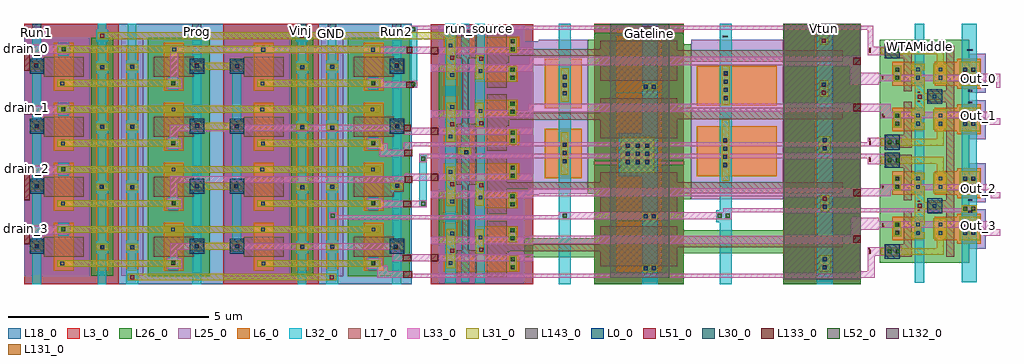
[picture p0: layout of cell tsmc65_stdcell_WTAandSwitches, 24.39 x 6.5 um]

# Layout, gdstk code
from math import pi, radians
import gdstk
lib = gdstk.Library(unit=1e-6, precision=1e-09)
def R(c, l, rs):  # rectangles x0, y0, x1, y1
    for r in rs: c.add(gdstk.rectangle(r[:2], r[2:], *l))
def A(c, l, x, y, w, h, nx, ny, dx, dy):  # array of equal rectangles
    R(c, l, [(x+i*dx, y+j*dy, x+i*dx+w, y+j*dy+h) for i in range(nx) for j in range(ny)])
def P(c, l, *ps):  # polygons
    for p in ps: c.add(gdstk.Polygon(p, *l))
L0_0 = (0, 0)
L3_0 = (3, 0)
L6_0 = (6, 0)
L17_0 = (17, 0)
L18_0 = (18, 0)
L25_0 = (25, 0)
L26_0 = (26, 0)
L30_0 = (30, 0)
L31_0 = (31, 0)
L32_0 = (32, 0)
L33_0 = (33, 0)
L51_0 = (51, 0)
L52_0 = (52, 0)
L131_0 = (131, 0)
L132_0 = (132, 0)
L133_0 = (133, 0)
L143_0 = (143, 0)

m2_m1_cdns_693601845464 = lib.new_cell('M2_M1_CDNS_693601845464')
R(m2_m1_cdns_693601845464, L31_0, [(-0.19,-0.19,0.19,0.19)])
R(m2_m1_cdns_693601845464, L32_0, [(-0.19,-0.19,0.19,0.19)])
R(m2_m1_cdns_693601845464, L51_0, [(-0.15,-0.15,-0.05,-0.05), (0.05,-0.15,0.15,-0.05), (-0.15,0.05,-0.05,0.15), (0.05,0.05,0.15,0.15)])

m1_od_cdns_693601845465 = lib.new_cell('M1_OD_CDNS_693601845465')
R(m1_od_cdns_693601845465, L6_0, [(-0.18,-0.18,0.18,0.18)])
R(m1_od_cdns_693601845465, L30_0, [(-0.15,-0.15,-0.06,-0.06), (0.06,-0.15,0.15,-0.06), (-0.15,0.06,-0.06,0.15), (0.06,0.06,0.15,0.15)])
R(m1_od_cdns_693601845465, L31_0, [(-0.19,-0.19,0.19,0.19)])

m1_od_cdns_693601845466 = lib.new_cell('M1_OD_CDNS_693601845466')
R(m1_od_cdns_693601845466, L6_0, [(-0.075,-0.18,0.075,0.18)])
R(m1_od_cdns_693601845466, L30_0, [(-0.045,-0.15,0.045,-0.06), (-0.045,0.06,0.045,0.15)])
R(m1_od_cdns_693601845466, L31_0, [(-0.085,-0.19,0.085,0.19)])

m3_m2_cdns_693601845461 = lib.new_cell('M3_M2_CDNS_693601845461')
R(m3_m2_cdns_693601845461, L32_0, [(-0.19,-0.09,0.19,0.09)])
R(m3_m2_cdns_693601845461, L33_0, [(-0.19,-0.09,0.19,0.09)])
R(m3_m2_cdns_693601845461, L52_0, [(-0.15,-0.05,-0.05,0.05), (0.05,-0.05,0.15,0.05)])

m1_po_cdns_693601845467 = lib.new_cell('M1_PO_CDNS_693601845467')
R(m1_po_cdns_693601845467, L17_0, [(-0.19,-0.085,0.19,0.085)])
R(m1_po_cdns_693601845467, L30_0, [(-0.15,-0.045,-0.06,0.045), (0.06,-0.045,0.15,0.045)])
R(m1_po_cdns_693601845467, L31_0, [(-0.19,-0.09,0.19,0.09)])

m3_m2_cdns_693601845468 = lib.new_cell('M3_M2_CDNS_693601845468')
R(m3_m2_cdns_693601845468, L32_0, [(-0.09,-0.19,0.09,0.19)])
R(m3_m2_cdns_693601845468, L33_0, [(-0.09,-0.19,0.09,0.19)])
R(m3_m2_cdns_693601845468, L52_0, [(-0.05,-0.15,0.05,-0.05), (-0.05,0.05,0.05,0.15)])

m2_m1_cdns_693601845469 = lib.new_cell('M2_M1_CDNS_693601845469')
R(m2_m1_cdns_693601845469, L31_0, [(-0.09,-0.19,0.09,0.19)])
R(m2_m1_cdns_693601845469, L32_0, [(-0.09,-0.19,0.09,0.19)])
R(m2_m1_cdns_693601845469, L51_0, [(-0.05,-0.15,0.05,-0.05), (-0.05,0.05,0.05,0.15)])

m1_od_cdns_6936018454610 = lib.new_cell('M1_OD_CDNS_6936018454610')
R(m1_od_cdns_6936018454610, L6_0, [(-0.075,-0.18,0.075,0.18)])
R(m1_od_cdns_6936018454610, L30_0, [(-0.045,-0.15,0.045,-0.06), (-0.045,0.06,0.045,0.15)])
R(m1_od_cdns_6936018454610, L31_0, [(-0.09,-0.19,0.09,0.19)])

m2_m1_cdns_693601845462 = lib.new_cell('M2_M1_CDNS_693601845462')
R(m2_m1_cdns_693601845462, L31_0, [(-0.19,-0.09,0.19,0.09)])
R(m2_m1_cdns_693601845462, L32_0, [(-0.19,-0.09,0.19,0.09)])
R(m2_m1_cdns_693601845462, L51_0, [(-0.15,-0.05,-0.05,0.05), (0.05,-0.05,0.15,0.05)])

m1_po_cdns_6936018454611 = lib.new_cell('M1_PO_CDNS_6936018454611')
R(m1_po_cdns_6936018454611, L17_0, [(-0.085,-0.085,0.085,0.085)])
R(m1_po_cdns_6936018454611, L30_0, [(-0.045,-0.045,0.045,0.045)])
R(m1_po_cdns_6936018454611, L31_0, [(-0.085,-0.085,0.085,0.085)])

sky130_hilas_wtasinglest = lib.new_cell('sky130_hilas_WTAsinglestage01')
R(sky130_hilas_wtasinglest, L0_0, [(-0.65,-0.8,-0.28,-0.43), (0.41,0.34,0.78,0.71)])
R(sky130_hilas_wtasinglest, L6_0, [(1.16,-0.42,1.46,-0.34), (1.46,-0.42,1.75,0.33), (-0.47,-0.34,0.32,0.25), (0.59,-0.34,1.46,0.25), (1.16,0.25,1.46,0.33)])
R(sky130_hilas_wtasinglest, L17_0, [(-0.63,-0.75,0.02,-0.43), (0.88,-0.5,1.08,0.38), (-0.18,-0.43,0.02,0.39), (0.43,0.38,1.08,0.66)])
R(sky130_hilas_wtasinglest, L25_0, [(1.46,-0.545,1.875,0.435)])
R(sky130_hilas_wtasinglest, L26_0, [(-0.78,-0.9,1.46,0.81)])
A(sky130_hilas_wtasinglest, L31_0, 0.56, -0.3, 0.34, 0.17, 1, 3, 0, 0.17)
R(sky130_hilas_wtasinglest, L31_0, [(-0.755,-0.7,0.82,-0.53), (0.65,-0.53,0.82,-0.3), (1.22,-0.34,1.73,0.25), (0.01,-0.3,0.34,-0.13), (-0.255,-0.24,-0.24,-0.02), (0.09,-0.13,0.26,0.04), (0.01,0.04,0.34,0.21), (0.09,0.21,0.34,0.44), (0.09,0.44,0.76,0.61)])
R(sky130_hilas_wtasinglest, L32_0, [(1.27,-0.9,1.65,0.81)])
R(sky130_hilas_wtasinglest, L33_0, [(-1.08,-0.72,-0.96,-0.51), (-0.96,-0.72,-0.23,-0.51), (-0.755,-0.02,-0.54,0.14), (-0.54,-0.02,1.75,0.14)])
R(sky130_hilas_wtasinglest, L131_0, [(0.17,0.4,0.215,0.425)])
R(sky130_hilas_wtasinglest, L132_0, [(1.435,0.65,1.535,0.695)])
R(sky130_hilas_wtasinglest, L133_0, [(-1.04,-0.675,-1.005,-0.575), (-0.72,0.035,-0.695,0.09)])
sky130_hilas_wtasinglest.add(gdstk.Reference(m2_m1_cdns_693601845464, (1.46,-0.05)))
sky130_hilas_wtasinglest.add(gdstk.Reference(m1_od_cdns_693601845465, (1.46,-0.05)))
sky130_hilas_wtasinglest.add(gdstk.Reference(m1_od_cdns_693601845466, (0.175,-0.05)))
sky130_hilas_wtasinglest.add(gdstk.Reference(m1_od_cdns_693601845466, (0.735,-0.05)))
sky130_hilas_wtasinglest.add(gdstk.Reference(m3_m2_cdns_693601845461, (-0.425,-0.615)))
sky130_hilas_wtasinglest.add(gdstk.Reference(m1_po_cdns_693601845467, (-0.425,-0.615)))
sky130_hilas_wtasinglest.add(gdstk.Reference(m3_m2_cdns_693601845468, (-0.345,-0.05)))
sky130_hilas_wtasinglest.add(gdstk.Reference(m2_m1_cdns_693601845469, (-0.345,-0.05)))
sky130_hilas_wtasinglest.add(gdstk.Reference(m1_od_cdns_6936018454610, (-0.345,-0.05)))
sky130_hilas_wtasinglest.add(gdstk.Reference(m2_m1_cdns_693601845462, (-0.425,-0.615)))
sky130_hilas_wtasinglest.add(gdstk.Reference(m1_po_cdns_6936018454611, (0.585,0.525)))
sky130_hilas_wtasinglest.add(gdstk.Label('GND', (1.475,0.67), layer=132, texttype=0))
sky130_hilas_wtasinglest.add(gdstk.Label('Out', (-0.71,0.065), layer=133, texttype=0))
sky130_hilas_wtasinglest.add(gdstk.Label('In', (-1.015,-0.62), layer=133, texttype=0))
sky130_hilas_wtasinglest.add(gdstk.Label('MiddleNode', (0.19,0.415), layer=131, texttype=0))

m2_m1_cdns_693601845463 = lib.new_cell('M2_M1_CDNS_693601845463')
R(m2_m1_cdns_693601845463, L31_0, [(-0.09,-0.09,0.09,0.09)])
R(m2_m1_cdns_693601845463, L32_0, [(-0.09,-0.09,0.09,0.09)])
R(m2_m1_cdns_693601845463, L51_0, [(-0.05,-0.05,0.05,0.05)])

sky130_hilas_wta4stage01 = lib.new_cell('sky130_hilas_WTA4stage01')
R(sky130_hilas_wta4stage01, L17_0, [(1.96,0.15,2.16,0.4), (1.96,2.45,2.16,2.7), (1.96,2.505,2.16,2.755), (1.96,2.54,2.16,3.13), (1.96,5.18,2.16,5.43)])
R(sky130_hilas_wta4stage01, L32_0, [(1.18,0.14,1.41,5.44), (1.18,2.71,1.41,2.87), (2.395,2.71,2.695,2.87), (1.18,5.235,1.41,5.44)])
R(sky130_hilas_wta4stage01, L33_0, [(0,0.18,0.1,0.39), (2.7,0.88,2.83,1.04), (2.72,1.81,2.83,1.97), (0,2.46,0.105,2.67), (0,2.91,0.095,3.115), (2.705,3.61,2.83,3.77), (2.735,4.54,2.83,4.7), (0,5.19,0.11,5.4)])
R(sky130_hilas_wta4stage01, L132_0, [(2.49,5.305,2.62,5.34), (1.26,5.395,1.325,5.415)])
R(sky130_hilas_wta4stage01, L133_0, [(0.02,0.345,0.045,0.365), (0.365,0.905,0.415,0.925), (0.365,1.905,0.395,1.925), (0.02,2.63,0.045,2.64), (0.035,3.08,0.06,3.095), (0.37,3.635,0.42,3.67), (0.355,4.645,0.385,4.665), (0.04,5.355,0.07,5.37)])
sky130_hilas_wta4stage01.add(gdstk.Reference(sky130_hilas_wtasinglest, (1.08,1.95), x_reflection=True))
sky130_hilas_wta4stage01.add(gdstk.Reference(sky130_hilas_wtasinglest, (1.08,0.9)))
sky130_hilas_wta4stage01.add(gdstk.Reference(sky130_hilas_wtasinglest, (1.08,3.63)))
sky130_hilas_wta4stage01.add(gdstk.Reference(sky130_hilas_wtasinglest, (1.08,4.68), x_reflection=True))
sky130_hilas_wta4stage01.add(gdstk.Reference(m2_m1_cdns_693601845463, (1.295,1.425)))
sky130_hilas_wta4stage01.add(gdstk.Reference(m2_m1_cdns_693601845463, (1.295,4.155)))
sky130_hilas_wta4stage01.add(gdstk.Label('OUTPUT1', (0.51,4.655), layer=133, texttype=0))
sky130_hilas_wta4stage01.add(gdstk.Label('OUTPUT2', (0.39,3.655), layer=133, texttype=0))
sky130_hilas_wta4stage01.add(gdstk.Label('OUTPUT3', (0.38,1.91), layer=133, texttype=0))
sky130_hilas_wta4stage01.add(gdstk.Label('OUTPUT4', (0.385,0.915), layer=133, texttype=0))
sky130_hilas_wta4stage01.add(gdstk.Label('INPUT4', (0.045,0.35), layer=133, texttype=0))
sky130_hilas_wta4stage01.add(gdstk.Label('INPUT3', (0.04,2.63), layer=133, texttype=0))
sky130_hilas_wta4stage01.add(gdstk.Label('INPUT2', (0.045,3.085), layer=133, texttype=0))
sky130_hilas_wta4stage01.add(gdstk.Label('INPUT1', (0.055,5.365), layer=133, texttype=0))
sky130_hilas_wta4stage01.add(gdstk.Label('GND', (2.56,5.32), layer=132, texttype=0))
sky130_hilas_wta4stage01.add(gdstk.Label('WTAMIDDLENODE', (1.28,5.405), layer=132, texttype=0))

sky130_hilas_tuncap01_v2 = lib.new_cell('sky130_hilas_TunCap01_v2')
R(sky130_hilas_tuncap01_v2, L3_0, [(-14.63,-3.945,-13.09,-2.14)])
R(sky130_hilas_tuncap01_v2, L6_0, [(-14.06,-3.67,-13.66,-2.47)])
R(sky130_hilas_tuncap01_v2, L18_0, [(-14.63,-3.945,-13.09,-2.14)])
R(sky130_hilas_tuncap01_v2, L26_0, [(-14.52,-3.8,-13.2,-2.34)])

sky130_hilas_fgvaractorc = lib.new_cell('sky130_hilas_FGVaractorCapacitor')
R(sky130_hilas_fgvaractorc, L3_0, [(0,0,2.23,1.86)])
R(sky130_hilas_fgvaractorc, L6_0, [(0.56,0.325,1.67,1.555)])
R(sky130_hilas_fgvaractorc, L17_0, [(0.16,0.44,2.08,1.44)])
R(sky130_hilas_fgvaractorc, L18_0, [(0,0,2.23,1.86)])
R(sky130_hilas_fgvaractorc, L26_0, [(0,0.215,2.23,1.635)])
R(sky130_hilas_fgvaractorc, L32_0, [(0.65,0,1.03,1.86)])

sky130_hilas_horizpcell0 = lib.new_cell('sky130_hilas_horizPcell01')
R(sky130_hilas_horizpcell0, L3_0, [(-2.89,0.4,-0.33,2.32)])
R(sky130_hilas_horizpcell0, L6_0, [(-2.54,0.71,-0.66,1.11), (-2.51,1.44,-1.43,1.84), (-1,1.495,-0.66,1.935)])
R(sky130_hilas_horizpcell0, L17_0, [(-2.235,0.57,-1.735,1.19), (-1.485,0.57,-0.985,1.25), (-2.295,1.19,-1.735,1.36), (-2.235,1.36,-1.735,1.98)])
R(sky130_hilas_horizpcell0, L18_0, [(-2.89,0.4,-0.33,2.32)])
P(sky130_hilas_horizpcell0, L25_0, [(-2.67,0.42),(-2.67,2.13),(-1.3,2.13),(-1.3,1.4),(-0.53,1.4),(-0.53,0.42)])
R(sky130_hilas_horizpcell0, L26_0, [(-1.125,1.4,-0.535,2.06)])
R(sky130_hilas_horizpcell0, L30_0, [(-0.875,0.88,-0.785,0.97), (-1.62,1.52,-1.53,1.61), (-0.915,1.62,-0.825,1.71)])
R(sky130_hilas_horizpcell0, L31_0, [(-0.94,0.8,-0.72,1.18), (-0.93,0.8,-0.73,1.15), (-0.93,1.15,-0.72,1.18), (-1.66,1.17,-1.46,1.77), (-0.94,1.18,-0.72,1.77)])
R(sky130_hilas_horizpcell0, L32_0, [(-1.68,0.42,-1.45,1.15), (-0.96,0.42,-0.69,1.12), (-1.29,0.47,-1.1,1.46), (-0.96,1.12,-0.69,1.67), (-1.68,1.15,-1.45,1.17), (-1.68,1.17,-1.45,1.41), (-1.68,1.41,-1.45,1.46), (-1.68,1.46,-1.45,2.32), (-1.29,1.46,-1.1,1.58), (-1.29,1.58,-1.1,2.32), (-0.96,1.67,-0.69,1.72), (-0.96,1.72,-0.69,1.81), (-0.96,1.81,-0.69,2.32)])
R(sky130_hilas_horizpcell0, L33_0, [(-2.89,0.97,-2.51,1.15), (-2.51,0.97,-0.33,1.15), (-2.89,1.4,-2.5,1.58), (-2.5,1.4,-0.33,1.58)])
R(sky130_hilas_horizpcell0, L51_0, [(-0.92,1.18,-0.82,1.28), (-1.65,1.21,-1.55,1.31)])
sky130_hilas_horizpcell0.add(gdstk.Reference(m3_m2_cdns_693601845468, (-2.385,0.92)))
sky130_hilas_horizpcell0.add(gdstk.Reference(m3_m2_cdns_693601845468, (-2.375,1.64)))
sky130_hilas_horizpcell0.add(gdstk.Reference(m2_m1_cdns_693601845469, (-2.375,1.64)))
sky130_hilas_horizpcell0.add(gdstk.Reference(m2_m1_cdns_693601845469, (-2.385,0.92)))
sky130_hilas_horizpcell0.add(gdstk.Reference(m1_od_cdns_6936018454610, (-2.375,1.64)))
sky130_hilas_horizpcell0.add(gdstk.Reference(m1_od_cdns_6936018454610, (-2.385,0.92)))

m1_od_cdns_6936018454612 = lib.new_cell('M1_OD_CDNS_6936018454612')
R(m1_od_cdns_6936018454612, L6_0, [(-0.075,-0.075,0.075,0.075)])
R(m1_od_cdns_6936018454612, L30_0, [(-0.045,-0.045,0.045,0.045)])
R(m1_od_cdns_6936018454612, L31_0, [(-0.085,-0.085,0.085,0.085)])

m1_od_cdns_6936018454613 = lib.new_cell('M1_OD_CDNS_6936018454613')
R(m1_od_cdns_6936018454613, L6_0, [(-0.075,-0.285,0.075,0.285)])
A(m1_od_cdns_6936018454613, L30_0, -0.045, -0.255, 0.09, 0.09, 1, 3, 0, 0.21)
R(m1_od_cdns_6936018454613, L31_0, [(-0.085,-0.295,0.085,0.295)])

m2_m1_cdns_6936018454614 = lib.new_cell('M2_M1_CDNS_6936018454614')
R(m2_m1_cdns_6936018454614, L31_0, [(-0.09,-0.29,0.09,0.29)])
R(m2_m1_cdns_6936018454614, L32_0, [(-0.09,-0.29,0.09,0.29)])
A(m2_m1_cdns_6936018454614, L51_0, -0.05, -0.25, 0.1, 0.1, 1, 3, 0, 0.2)

m1_od_cdns_6936018454615 = lib.new_cell('M1_OD_CDNS_6936018454615')
R(m1_od_cdns_6936018454615, L6_0, [(-0.075,-0.39,0.075,0.39)])
A(m1_od_cdns_6936018454615, L30_0, -0.045, -0.36, 0.09, 0.09, 1, 4, 0, 0.21)
R(m1_od_cdns_6936018454615, L31_0, [(-0.085,-0.4,0.085,0.4)])

m2_m1_cdns_6936018454616 = lib.new_cell('M2_M1_CDNS_6936018454616')
R(m2_m1_cdns_6936018454616, L31_0, [(-0.09,-0.39,0.09,0.39)])
R(m2_m1_cdns_6936018454616, L32_0, [(-0.09,-0.39,0.09,0.39)])
A(m2_m1_cdns_6936018454616, L51_0, -0.05, -0.35, 0.1, 0.1, 1, 4, 0, 0.2)

m3_m2_cdns_693601845460 = lib.new_cell('M3_M2_CDNS_693601845460')
R(m3_m2_cdns_693601845460, L32_0, [(-0.09,-0.09,0.09,0.09)])
R(m3_m2_cdns_693601845460, L33_0, [(-0.09,-0.09,0.09,0.09)])
R(m3_m2_cdns_693601845460, L52_0, [(-0.05,-0.05,0.05,0.05)])

m2_m1_cdns_6936018454617 = lib.new_cell('M2_M1_CDNS_6936018454617')
R(m2_m1_cdns_6936018454617, L31_0, [(-0.33,-0.29,0.33,0.29)])
R(m2_m1_cdns_6936018454617, L32_0, [(-0.33,-0.29,0.33,0.29)])
A(m2_m1_cdns_6936018454617, L51_0, -0.29, -0.25, 0.1, 0.1, 3, 3, 0.24, 0.2)

m1_od_cdns_6936018454618 = lib.new_cell('M1_OD_CDNS_6936018454618')
R(m1_od_cdns_6936018454618, L6_0, [(-0.315,-0.285,0.315,0.285)])
A(m1_od_cdns_6936018454618, L30_0, -0.285, -0.255, 0.09, 0.09, 3, 3, 0.24, 0.21)
R(m1_od_cdns_6936018454618, L31_0, [(-0.325,-0.295,0.325,0.295)])

m1_od_cdns_6936018454619 = lib.new_cell('M1_OD_CDNS_6936018454619')
R(m1_od_cdns_6936018454619, L6_0, [(-0.18,-0.075,0.18,0.075)])
R(m1_od_cdns_6936018454619, L30_0, [(-0.15,-0.045,-0.06,0.045), (0.06,-0.045,0.15,0.045)])
R(m1_od_cdns_6936018454619, L31_0, [(-0.19,-0.085,0.19,0.085)])

sky130_hilas_swc4x1biasc = lib.new_cell('sky130_hilas_swc4x1BiasCell')
R(sky130_hilas_swc4x1biasc, L3_0, [(0,0,0.16,6.5), (1.7,0,1.945,6.5), (0.16,3.005,1.7,3.34), (9.635,3.24,9.805,3.34), (9.975,3.24,9.985,3.34), (9.635,3.34,9.985,3.35), (9.635,3.35,9.805,3.41), (0.16,6.32,1.7,6.5)])
R(sky130_hilas_swc4x1biasc, L6_0, [(4.995,0.315,6.105,0.415), (4.995,1.6,6.105,1.79), (6.98,2.64,7.9,3.885), (0.7,2.675,1.1,3.615), (0.73,2.675,1.13,3.615), (2.105,2.69,4.1,3.945), (4.995,2.95,6.105,3.63), (6.98,4.39,7.9,5.63), (2.105,4.46,4.1,5.455), (4.995,4.8,6.105,5.07), (0.73,5.99,1.13,6.375), (4.995,6.285,6.105,6.385)])
R(sky130_hilas_swc4x1biasc, L17_0, [(9.815,0.745,9.965,2.645), (6.515,0.82,8.865,0.99), (0.45,0.92,1.7,1.2), (1.7,0.92,4.595,1.2), (0.45,2.27,1.7,2.55), (1.7,2.27,4.595,2.55), (6.515,2.37,8.865,2.54), (9.6,3.17,10.1,3.46), (9.81,3.985,9.96,5.885), (6.515,4.11,8.865,4.28), (0.45,4.12,1.7,4.4), (1.7,4.12,4.595,4.4), (0.45,5.56,1.7,5.84), (1.7,5.56,4.595,5.84), (6.515,5.7,8.865,5.87)])
R(sky130_hilas_swc4x1biasc, L18_0, [(0,0,0.16,6.5), (1.7,0,1.945,6.5), (4.995,1.6,6.105,1.79), (0.16,3.005,1.7,3.34), (4.995,4.8,6.105,5.07), (0.16,6.32,1.7,6.5)])
R(sky130_hilas_swc4x1biasc, L25_0, [(8.45,1.575,9.78,1.805), (1.945,2.12,4.24,4.185), (8.05,2.23,8.415,6.07), (6.83,2.26,8.05,4.035), (6.83,4.035,8.05,6.1), (1.945,4.185,4.24,6.1), (9.785,4.29,9.96,5.63), (8.45,4.825,9.78,5.045)])
R(sky130_hilas_swc4x1biasc, L26_0, [(0,0.145,0.27,6.5), (1.59,0.145,1.945,6.5), (4.435,0.21,6.665,0.305), (6.665,0.67,8.415,1.14), (1.59,0.77,4.435,1.35), (9.785,1,9.96,2.34), (9.96,1.605,10.55,1.775), (4.24,2.12,4.435,5.99), (6.665,2.26,6.83,6.1), (0.27,2.805,1.59,3.485), (4.435,3.075,6.665,3.505), (4.435,4.675,6.665,5.195), (9.96,4.855,10.55,5.015), (0.27,6.12,1.59,6.5), (4.435,6.365,6.665,6.49)])
R(sky130_hilas_swc4x1biasc, L30_0, [(9.815,3.24,9.905,3.33)])
R(sky130_hilas_swc4x1biasc, L31_0, [(0.75,0.31,1.055,0.72), (0.795,1.825,1.005,2.225), (3.295,2.58,3.485,4.11), (7.315,2.73,7.505,3.79), (5.17,2.785,6.005,3.675), (9.735,3.24,10.065,3.41), (0.75,3.28,1.055,3.69), (3.285,4.47,3.475,5.455), (7.31,4.55,7.5,5.395), (0.82,4.68,1.035,5.09), (0.82,5.98,1.03,6.39)])
R(sky130_hilas_swc4x1biasc, L32_0, [(0.7,0,1.1,6.445), (3.225,0,3.535,1.54), (7.255,0,7.555,1.55), (9.795,0.06,9.985,0.12), (5.085,0.09,5.465,0.37), (9.425,0.25,9.585,0.32), (9.795,0.25,9.985,0.32), (10.235,0.25,10.395,0.32), (3.225,1.54,3.615,1.85), (7.255,1.55,7.555,1.57), (7.255,1.57,7.555,1.85), (3.225,1.85,3.535,6.5), (7.255,1.85,7.555,1.88), (7.255,1.88,7.555,6.5), (5.085,2.69,6.055,3.77), (9.875,3.11,9.985,3.21), (9.775,3.21,10.015,3.44), (9.425,3.31,9.585,3.32), (10.235,3.31,10.395,3.32), (5.085,6.22,5.465,6.5), (9.795,6.22,9.985,6.29), (9.795,6.42,9.985,6.5), (0.7,6.445,1.1,6.5), (9.405,6.47,9.635,6.5), (10.125,6.47,10.395,6.5)])
R(sky130_hilas_swc4x1biasc, L33_0, [(0,1.01,8.285,1.21), (3.235,1.615,7.555,1.795), (0,2.19,8.315,2.39), (0,4.3,8.315,4.5), (0,5.47,8.295,5.68)])
R(sky130_hilas_swc4x1biasc, L51_0, [(9.815,3.24,9.915,3.34)])
R(sky130_hilas_swc4x1biasc, L132_0, [(3.33,6.17,3.45,6.21), (9.795,6.21,9.985,6.34), (5.085,6.25,5.465,6.445), (9.405,6.275,9.635,6.42), (10.125,6.275,10.395,6.415), (0.7,6.28,1.1,6.43)])
R(sky130_hilas_swc4x1biasc, L133_0, [(10.56,0.57,10.755,0.75), (0,1.03,0.19,1.21), (0,2.19,0.19,2.37), (10.56,2.58,10.755,2.76), (10.56,3.73,10.755,3.91), (0.005,4.32,0.195,4.5), (0.002,5.48,0.197,5.66), (10.56,5.74,10.755,5.92)])
R(sky130_hilas_swc4x1biasc, L143_0, [(0.005,0.115,1.935,6.5), (4.795,0.155,6.265,6.5)])
sky130_hilas_swc4x1biasc.add(gdstk.Reference(sky130_hilas_tuncap01_v2, (14.79,3.945)))
sky130_hilas_swc4x1biasc.add(gdstk.Reference(sky130_hilas_tuncap01_v2, (14.79,8.46)))
sky130_hilas_swc4x1biasc.add(gdstk.Reference(sky130_hilas_tuncap01_v2, (14.79,7.285)))
sky130_hilas_swc4x1biasc.add(gdstk.Reference(sky130_hilas_tuncap01_v2, (14.79,5.145)))
sky130_hilas_swc4x1biasc.add(gdstk.Reference(sky130_hilas_fgvaractorc, (4.435,3.2)))
sky130_hilas_swc4x1biasc.add(gdstk.Reference(sky130_hilas_fgvaractorc, (4.435,1.35)))
sky130_hilas_swc4x1biasc.add(gdstk.Reference(sky130_hilas_fgvaractorc, (4.435,0)))
sky130_hilas_swc4x1biasc.add(gdstk.Reference(sky130_hilas_fgvaractorc, (4.435,4.64)))
sky130_hilas_swc4x1biasc.add(gdstk.Reference(sky130_hilas_horizpcell0, (11.085,3.73), x_reflection=True))
sky130_hilas_swc4x1biasc.add(gdstk.Reference(sky130_hilas_horizpcell0, (11.085,-0.4)))
sky130_hilas_swc4x1biasc.add(gdstk.Reference(sky130_hilas_horizpcell0, (11.085,6.89), x_reflection=True))
sky130_hilas_swc4x1biasc.add(gdstk.Reference(sky130_hilas_horizpcell0, (11.085,2.76)))
sky130_hilas_swc4x1biasc.add(gdstk.Reference(m2_m1_cdns_693601845463, (0.9,1.93)))
sky130_hilas_swc4x1biasc.add(gdstk.Reference(m2_m1_cdns_693601845463, (0.925,4.985)))
sky130_hilas_swc4x1biasc.add(gdstk.Reference(m2_m1_cdns_693601845463, (0.925,6.28)))
sky130_hilas_swc4x1biasc.add(gdstk.Reference(m2_m1_cdns_693601845469, (0.925,6.18)))
sky130_hilas_swc4x1biasc.add(gdstk.Reference(m2_m1_cdns_693601845469, (0.925,4.885)))
sky130_hilas_swc4x1biasc.add(gdstk.Reference(m2_m1_cdns_693601845469, (0.9,2.03)))
sky130_hilas_swc4x1biasc.add(gdstk.Reference(m2_m1_cdns_693601845469, (0.905,0.515)))
sky130_hilas_swc4x1biasc.add(gdstk.Reference(m2_m1_cdns_693601845469, (0.905,3.49)))
sky130_hilas_swc4x1biasc.add(gdstk.Reference(m1_od_cdns_6936018454612, (0.9,1.93)))
sky130_hilas_swc4x1biasc.add(gdstk.Reference(m1_od_cdns_6936018454612, (0.925,4.985)))
sky130_hilas_swc4x1biasc.add(gdstk.Reference(m1_od_cdns_6936018454612, (0.925,6.28)))
sky130_hilas_swc4x1biasc.add(gdstk.Reference(m1_od_cdns_693601845466, (0.905,0.515)))
sky130_hilas_swc4x1biasc.add(gdstk.Reference(m1_od_cdns_693601845466, (0.905,3.49)))
sky130_hilas_swc4x1biasc.add(gdstk.Reference(m1_od_cdns_6936018454613, (7.41,3.275)))
sky130_hilas_swc4x1biasc.add(gdstk.Reference(m1_od_cdns_6936018454613, (7.405,4.97)))
sky130_hilas_swc4x1biasc.add(gdstk.Reference(m2_m1_cdns_6936018454614, (7.41,3.275)))
sky130_hilas_swc4x1biasc.add(gdstk.Reference(m2_m1_cdns_6936018454614, (7.405,4.97)))
sky130_hilas_swc4x1biasc.add(gdstk.Reference(m1_od_cdns_6936018454615, (3.395,3.285)))
sky130_hilas_swc4x1biasc.add(gdstk.Reference(m1_od_cdns_6936018454615, (3.38,4.955)))
sky130_hilas_swc4x1biasc.add(gdstk.Reference(m2_m1_cdns_6936018454616, (3.395,3.285)))
sky130_hilas_swc4x1biasc.add(gdstk.Reference(m2_m1_cdns_6936018454616, (3.38,4.955)))
sky130_hilas_swc4x1biasc.add(gdstk.Reference(m3_m2_cdns_693601845460, (7.41,1.705)))
sky130_hilas_swc4x1biasc.add(gdstk.Reference(m3_m2_cdns_693601845461, (3.425,1.705)))
sky130_hilas_swc4x1biasc.add(gdstk.Reference(m2_m1_cdns_6936018454617, (5.585,3.255)))
sky130_hilas_swc4x1biasc.add(gdstk.Reference(m1_od_cdns_6936018454618, (5.585,3.255)))
sky130_hilas_swc4x1biasc.add(gdstk.Reference(m1_od_cdns_6936018454619, (5.275,0.395)))
sky130_hilas_swc4x1biasc.add(gdstk.Reference(m1_od_cdns_6936018454619, (5.275,1.69)))
sky130_hilas_swc4x1biasc.add(gdstk.Reference(m1_od_cdns_6936018454619, (5.275,4.93)))
sky130_hilas_swc4x1biasc.add(gdstk.Reference(m1_od_cdns_6936018454619, (5.275,6.305)))
sky130_hilas_swc4x1biasc.add(gdstk.Reference(m2_m1_cdns_693601845462, (5.275,0.395)))
sky130_hilas_swc4x1biasc.add(gdstk.Reference(m2_m1_cdns_693601845462, (5.275,1.69)))
sky130_hilas_swc4x1biasc.add(gdstk.Reference(m2_m1_cdns_693601845462, (5.275,6.305)))
sky130_hilas_swc4x1biasc.add(gdstk.Reference(m2_m1_cdns_693601845462, (5.275,4.93)))
sky130_hilas_swc4x1biasc.add(gdstk.Label('GND', (3.395,6.19), layer=132, texttype=0))
sky130_hilas_swc4x1biasc.add(gdstk.Label('col_sel', (9.89,6.275), layer=132, texttype=0))
sky130_hilas_swc4x1biasc.add(gdstk.Label('run_source', (9.505,6.365), layer=132, texttype=0))
sky130_hilas_swc4x1biasc.add(gdstk.Label('Vtun', (0.9,6.35), layer=132, texttype=0))
sky130_hilas_swc4x1biasc.add(gdstk.Label('Vgate', (5.28,6.39), layer=132, texttype=0))
sky130_hilas_swc4x1biasc.add(gdstk.Label('Vinj', (10.255,6.33), layer=132, texttype=0))
sky130_hilas_swc4x1biasc.add(gdstk.Label('run_drain4', (0.11,5.582), layer=133, texttype=0))
sky130_hilas_swc4x1biasc.add(gdstk.Label('run_drain3', (0.075,4.425), layer=133, texttype=0))
sky130_hilas_swc4x1biasc.add(gdstk.Label('run_drain2', (0.085,2.32), layer=133, texttype=0))
sky130_hilas_swc4x1biasc.add(gdstk.Label('run_drain1', (0.075,1.14), layer=133, texttype=0))
sky130_hilas_swc4x1biasc.add(gdstk.Label('prog_drain1', (10.53,0.67), layer=133, texttype=0))
sky130_hilas_swc4x1biasc.add(gdstk.Label('prog_drain2', (10.525,2.705), layer=133, texttype=0))
sky130_hilas_swc4x1biasc.add(gdstk.Label('prog_drain3', (10.535,3.83), layer=133, texttype=0))
sky130_hilas_swc4x1biasc.add(gdstk.Label('prog_drain4', (10.525,5.855), layer=133, texttype=0))

sky130_hilas_fourtgatedo = lib.new_cell('sky130_hilas_FourTgateDouble_ThickOx')
A(sky130_hilas_fourtgatedo, L0_0, 0.14, 0.76, 0.37, 0.37, 1, 4, 0, 1.5)
A(sky130_hilas_fourtgatedo, L0_0, 4.14, 0.76, 0.37, 0.37, 1, 4, 0, 1.5)
A(sky130_hilas_fourtgatedo, L0_0, 5.14, 0.76, 0.37, 0.37, 1, 4, 0, 1.5)
R(sky130_hilas_fourtgatedo, L0_0, [(9.14,0.76,9.51,1.13), (9.14,3.76,9.51,4.13), (9.14,5.26,9.51,5.63)])
R(sky130_hilas_fourtgatedo, L3_0, [(0,0,2.37,6.5), (4.98,0,7.37,6.5)])
A(sky130_hilas_fourtgatedo, L6_0, 0.74, 0.33, 0.5, 1.2, 1, 4, 0, 1.5)
A(sky130_hilas_fourtgatedo, L6_0, 3.49, 0.33, 0.5, 1.2, 1, 4, 0, 1.5)
A(sky130_hilas_fourtgatedo, L6_0, 5.74, 0.33, 0.5, 1.2, 1, 4, 0, 1.5)
A(sky130_hilas_fourtgatedo, L6_0, 8.49, 0.33, 0.5, 1.2, 1, 4, 0, 1.5)
R(sky130_hilas_fourtgatedo, L6_0, [(1.8,0.335,2.1,5.965), (2.55,0.335,2.85,5.965), (6.8,0.335,7.1,5.965), (7.55,0.335,7.85,5.965)])
A(sky130_hilas_fourtgatedo, L17_0, 0.49, 0.68, 1, 0.13, 1, 4, 0, 1.5)
A(sky130_hilas_fourtgatedo, L17_0, 3.24, 0.68, 1, 0.13, 1, 4, 0, 1.5)
A(sky130_hilas_fourtgatedo, L17_0, 5.49, 0.68, 1, 0.13, 1, 4, 0, 1.5)
A(sky130_hilas_fourtgatedo, L17_0, 8.24, 0.68, 1, 0.13, 1, 4, 0, 1.5)
A(sky130_hilas_fourtgatedo, L17_0, 0.16, 0.81, 1.33, 0.27, 1, 4, 0, 1.5)
A(sky130_hilas_fourtgatedo, L17_0, 3.24, 0.81, 1.25, 0.27, 1, 4, 0, 1.5)
A(sky130_hilas_fourtgatedo, L17_0, 5.16, 0.81, 1.33, 0.27, 1, 4, 0, 1.5)
A(sky130_hilas_fourtgatedo, L17_0, 8.24, 0.81, 1.25, 0.27, 1, 4, 0, 1.5)
A(sky130_hilas_fourtgatedo, L17_0, 0.49, 1.08, 1, 0.1, 1, 4, 0, 1.5)
A(sky130_hilas_fourtgatedo, L17_0, 3.24, 1.08, 1, 0.1, 1, 4, 0, 1.5)
A(sky130_hilas_fourtgatedo, L17_0, 5.49, 1.08, 1, 0.1, 1, 4, 0, 1.5)
A(sky130_hilas_fourtgatedo, L17_0, 8.24, 1.08, 1, 0.1, 1, 4, 0, 1.5)
R(sky130_hilas_fourtgatedo, L18_0, [(0,0,9.695,6.5)])
R(sky130_hilas_fourtgatedo, L25_0, [(0.01,0.2,1.64,6.16), (5.01,0.2,6.64,6.16), (7.425,0.2,7.975,6.155), (2.425,0.205,2.975,6.15)])
R(sky130_hilas_fourtgatedo, L26_0, [(3.09,0.2,4.64,6.16), (8.09,0.2,9.64,6.16), (1.675,0.205,2.225,6.155), (6.675,0.205,7.225,6.155)])
R(sky130_hilas_fourtgatedo, L30_0, [(0.91,0.47,1,0.56), (5.945,0.47,6.035,0.56), (8.685,0.47,8.775,0.56), (3.685,0.48,3.775,0.57), (2.66,0.875,2.75,0.965), (1.915,0.88,2.005,0.97), (6.915,0.885,7.005,0.975), (7.66,0.89,7.75,0.98), (9.245,0.89,9.335,0.98), (0.275,0.895,0.365,0.985), (4.27,0.895,4.36,0.985), (5.28,0.895,5.37,0.985), (8.69,1.315,8.78,1.405), (3.68,1.32,3.77,1.41), (5.93,1.32,6.02,1.41), (0.935,1.325,1.025,1.415), (0.925,1.97,1.015,2.06), (3.7,1.97,3.79,2.06), (5.93,1.97,6.02,2.06), (8.685,1.97,8.775,2.06), (6.915,2.375,7.005,2.465), (2.665,2.38,2.755,2.47), (1.895,2.385,1.985,2.475), (7.66,2.385,7.75,2.475), (0.27,2.4,0.36,2.49), (4.275,2.4,4.365,2.49), (5.265,2.4,5.355,2.49), (9.28,2.415,9.37,2.505), (3.69,2.82,3.78,2.91), (5.91,2.82,6,2.91), (8.675,2.82,8.765,2.91), (0.935,2.825,1.025,2.915), (0.93,3.47,1.02,3.56), (5.925,3.47,6.015,3.56), (3.69,3.475,3.78,3.565), (8.69,3.475,8.78,3.565), (7.665,3.865,7.755,3.955), (6.91,3.87,7,3.96), (1.91,3.88,2,3.97), (2.665,3.885,2.755,3.975), (5.275,3.895,5.365,3.985), (9.29,3.895,9.38,3.985), (0.27,3.9,0.36,3.99), (4.28,3.905,4.37,3.995), (8.665,4.315,8.755,4.405), (0.935,4.32,1.025,4.41), (3.69,4.32,3.78,4.41), (5.91,4.32,6,4.41), (0.91,4.97,1,5.06), (3.69,4.97,3.78,5.06), (5.92,4.97,6.01,5.06), (8.685,4.97,8.775,5.06), (1.91,5.375,2,5.465), (6.91,5.375,7,5.465), (2.66,5.38,2.75,5.47), (7.66,5.38,7.75,5.47), (5.28,5.4,5.37,5.49), (0.265,5.405,0.355,5.495), (4.275,5.405,4.365,5.495), (9.27,5.405,9.36,5.495), (5.935,5.81,6.025,5.9), (8.68,5.81,8.77,5.9), (3.71,5.815,3.8,5.905), (0.945,5.825,1.035,5.915)])
A(sky130_hilas_fourtgatedo, L31_0, 0.83, 0.43, 3.07, 0.17, 1, 4, 0, 1.5)
A(sky130_hilas_fourtgatedo, L31_0, 5.83, 0.43, 3.07, 0.17, 1, 4, 0, 1.5)
A(sky130_hilas_fourtgatedo, L31_0, 1.8, 0.84, 0.3, 0.17, 1, 4, 0, 1.5)
A(sky130_hilas_fourtgatedo, L31_0, 2.55, 0.84, 0.3, 0.17, 1, 4, 0, 1.5)
A(sky130_hilas_fourtgatedo, L31_0, 6.8, 0.84, 0.3, 0.17, 1, 4, 0, 1.5)
A(sky130_hilas_fourtgatedo, L31_0, 7.55, 0.84, 0.3, 0.17, 1, 4, 0, 1.5)
A(sky130_hilas_fourtgatedo, L31_0, 0.17, 0.86, 0.3, 0.17, 1, 4, 0, 1.5)
A(sky130_hilas_fourtgatedo, L31_0, 4.16, 0.86, 1.33, 0.17, 1, 4, 0, 1.5)
A(sky130_hilas_fourtgatedo, L31_0, 0.83, 1.28, 8.07, 0.17, 1, 4, 0, 1.5)
R(sky130_hilas_fourtgatedo, L31_0, [(2.59,0.09,7.81,0.26), (9.17,0.86,9.49,1.03), (9.17,2.36,9.47,2.53), (9.16,3.86,9.49,4.03), (9.17,5.36,9.47,5.53), (1.84,6.12,7.06,6.29)])
A(sky130_hilas_fourtgatedo, L32_0, 3.6, 0.35, 0.26, 0.32, 1, 4, 0, 1.5)
A(sky130_hilas_fourtgatedo, L32_0, 8.6, 0.35, 0.26, 0.32, 1, 4, 0, 1.5)
A(sky130_hilas_fourtgatedo, L32_0, 1.8, 0.77, 0.3, 0.3, 1, 4, 0, 1.5)
A(sky130_hilas_fourtgatedo, L32_0, 6.8, 0.77, 0.3, 0.3, 1, 4, 0, 1.5)
A(sky130_hilas_fourtgatedo, L32_0, 2.55, 0.78, 0.3, 0.3, 1, 4, 0, 1.5)
A(sky130_hilas_fourtgatedo, L32_0, 7.55, 0.78, 0.3, 0.3, 1, 4, 0, 1.5)
A(sky130_hilas_fourtgatedo, L32_0, 0.17, 0.79, 0.3, 0.3, 1, 4, 0, 1.5)
A(sky130_hilas_fourtgatedo, L32_0, 4.17, 0.79, 0.3, 0.3, 1, 4, 0, 1.5)
A(sky130_hilas_fourtgatedo, L32_0, 5.17, 0.79, 0.3, 0.3, 1, 4, 0, 1.5)
A(sky130_hilas_fourtgatedo, L32_0, 9.17, 0.79, 0.3, 0.3, 1, 4, 0, 1.5)
A(sky130_hilas_fourtgatedo, L32_0, 1.84, 1.07, 0.22, 1.2, 1, 3, 0, 1.5)
A(sky130_hilas_fourtgatedo, L32_0, 6.84, 1.07, 0.22, 1.2, 1, 3, 0, 1.5)
A(sky130_hilas_fourtgatedo, L32_0, 2.59, 1.08, 0.22, 1.2, 1, 3, 0, 1.5)
A(sky130_hilas_fourtgatedo, L32_0, 7.59, 1.08, 0.22, 1.2, 1, 3, 0, 1.5)
A(sky130_hilas_fourtgatedo, L32_0, 0.21, 1.09, 0.22, 1.2, 1, 3, 0, 1.5)
A(sky130_hilas_fourtgatedo, L32_0, 4.21, 1.09, 0.22, 1.2, 1, 3, 0, 1.5)
A(sky130_hilas_fourtgatedo, L32_0, 5.21, 1.09, 0.22, 1.2, 1, 3, 0, 1.5)
A(sky130_hilas_fourtgatedo, L32_0, 9.21, 1.09, 0.22, 1.2, 1, 3, 0, 1.5)
A(sky130_hilas_fourtgatedo, L32_0, 0.86, 1.21, 0.26, 0.32, 1, 4, 0, 1.5)
R(sky130_hilas_fourtgatedo, L32_0, [(0.21,0,0.43,0.79), (1.84,0,2.06,0.77), (4.21,0,4.43,0.79), (6.84,0,7.06,0.77), (9.21,0,9.43,0.79), (2.55,0.06,2.85,0.36), (7.55,0.06,7.85,0.36), (2.59,0.36,2.81,0.78), (7.59,0.36,7.81,0.78), (1.84,5.57,2.06,6.05), (6.84,5.57,7.06,6.06), (2.59,5.58,2.81,6.5), (7.59,5.58,7.81,6.5), (0.21,5.59,0.43,6.5), (4.21,5.59,4.43,6.5), (9.21,5.59,9.43,6.5), (1.8,6.05,2.1,6.35), (6.79,6.06,7.09,6.36), (1.84,6.35,2.06,6.5), (6.84,6.36,7.06,6.5)])
A(sky130_hilas_fourtgatedo, L33_0, 3.57, 0.38, 0.38, 0.26, 1, 4, 0, 1.5)
A(sky130_hilas_fourtgatedo, L33_0, 0.83, 1.46, 0.32, 0.04, 1, 3, 0, 1.5)
R(sky130_hilas_fourtgatedo, L33_0, [(8.83,0.16,9.7,0.32), (8.83,0.32,9.09,0.38), (8.57,0.38,9.09,0.46), (8.57,0.46,8.95,0.64), (9.21,0.57,9.68,0.73), (3.65,0.64,3.83,0.86), (9.21,0.73,9.39,0.86), (3.65,0.86,9.39,1.02), (0,0.99,0.14,1.24), (0,1.24,1.15,1.46), (8.57,1.88,8.95,1.92), (8.57,1.92,9.68,2.08), (8.57,2.08,8.95,2.14), (0,2.09,0.14,2.74), (3.65,2.14,3.83,2.53), (3.65,2.53,9.7,2.69), (0,2.74,1.15,2.96), (8.89,3.19,9.7,3.35), (8.89,3.35,9.09,3.38), (8.57,3.38,9.09,3.52), (8.57,3.52,8.95,3.64), (3.64,3.64,3.84,3.82), (3.64,3.82,9.67,3.98), (0,4.24,1.15,4.4), (0,4.4,1.15,4.46), (8.57,4.9,9.74,5.06), (8.57,5.06,8.99,5.09), (8.57,5.09,8.99,5.14), (3.66,5.14,3.86,5.77), (0,5.33,0.14,5.76), (0.83,5.74,1.15,5.76), (0,5.76,1.15,5.98), (3.66,5.77,9.7,5.93), (0.83,5.98,1.15,6)])
R(sky130_hilas_fourtgatedo, L51_0, [(2.65,0.125,2.75,0.225), (7.645,0.125,7.745,0.225), (8.68,0.465,8.78,0.565), (3.68,0.475,3.78,0.575), (2.655,0.87,2.755,0.97), (1.91,0.875,2.01,0.975), (6.91,0.88,7.01,0.98), (7.655,0.885,7.755,0.985), (9.24,0.885,9.34,0.985), (0.27,0.89,0.37,0.99), (4.265,0.89,4.365,0.99), (5.275,0.89,5.375,0.99), (0.93,1.32,1.03,1.42), (3.695,1.965,3.795,2.065), (8.68,1.965,8.78,2.065), (6.91,2.37,7.01,2.47), (2.66,2.375,2.76,2.475), (1.89,2.38,1.99,2.48), (7.655,2.38,7.755,2.48), (0.265,2.395,0.365,2.495), (4.27,2.395,4.37,2.495), (5.26,2.395,5.36,2.495), (9.275,2.41,9.375,2.51), (0.93,2.82,1.03,2.92), (3.685,3.47,3.785,3.57), (8.685,3.47,8.785,3.57), (7.66,3.86,7.76,3.96), (6.905,3.865,7.005,3.965), (1.905,3.875,2.005,3.975), (2.66,3.88,2.76,3.98), (5.27,3.89,5.37,3.99), (9.285,3.89,9.385,3.99), (0.265,3.895,0.365,3.995), (4.275,3.9,4.375,4), (0.93,4.315,1.03,4.415), (3.685,4.965,3.785,5.065), (8.68,4.965,8.78,5.065), (1.905,5.37,2.005,5.47), (6.905,5.37,7.005,5.47), (2.655,5.375,2.755,5.475), (7.655,5.375,7.755,5.475), (5.275,5.395,5.375,5.495), (0.26,5.4,0.36,5.5), (4.27,5.4,4.37,5.5), (9.265,5.4,9.365,5.5), (0.94,5.82,1.04,5.92), (6.895,6.15,6.995,6.25), (1.91,6.155,2.01,6.255)])
R(sky130_hilas_fourtgatedo, L52_0, [(8.68,0.465,8.78,0.565), (3.68,0.48,3.78,0.58), (0.93,1.32,1.03,1.42), (3.695,1.965,3.795,2.065), (8.68,1.965,8.78,2.065), (0.93,2.82,1.03,2.92), (3.685,3.47,3.785,3.57), (8.685,3.47,8.785,3.57), (0.93,4.315,1.03,4.415), (3.685,4.965,3.785,5.065), (8.68,4.965,8.78,5.065), (0.94,5.82,1.04,5.92)])
R(sky130_hilas_fourtgatedo, L132_0, [(7.59,6.27,7.81,6.5), (6.84,6.295,7.06,6.5), (0.21,6.32,0.43,6.5), (9.21,6.335,9.43,6.5), (4.21,6.355,4.43,6.5)])
R(sky130_hilas_fourtgatedo, L133_0, [(9.485,0.16,9.7,0.32), (9.47,0.57,9.68,0.73), (0,0.99,0.14,1.46), (9.48,1.92,9.68,2.08), (0,2.09,0.14,2.96), (9.515,2.53,9.7,2.69), (9.5,3.19,9.7,3.35), (9.5,3.82,9.67,3.98), (0,4.24,0.23,4.46), (9.555,4.9,9.74,5.06), (0,5.325,0.14,5.98), (9.565,5.77,9.7,5.93)])
sky130_hilas_fourtgatedo.add(gdstk.Label('In3', (9.65,4.99), layer=133, texttype=0))
sky130_hilas_fourtgatedo.add(gdstk.Label('In2', (9.585,3.905), layer=133, texttype=0))
sky130_hilas_fourtgatedo.add(gdstk.Label('Out4', (0.095,1.27), layer=133, texttype=0))
sky130_hilas_fourtgatedo.add(gdstk.Label('Out1', (0.095,5.7), layer=133, texttype=0))
sky130_hilas_fourtgatedo.add(gdstk.Label('In1', (9.63,5.855), layer=133, texttype=0))
sky130_hilas_fourtgatedo.add(gdstk.Label('In4', (9.62,3.275), layer=133, texttype=0))
sky130_hilas_fourtgatedo.add(gdstk.Label('In6', (9.585,2), layer=133, texttype=0))
sky130_hilas_fourtgatedo.add(gdstk.Label('Out3', (0.105,2.665), layer=133, texttype=0))
sky130_hilas_fourtgatedo.add(gdstk.Label('In7', (9.595,0.635), layer=133, texttype=0))
sky130_hilas_fourtgatedo.add(gdstk.Label('In8', (9.61,0.245), layer=133, texttype=0))
sky130_hilas_fourtgatedo.add(gdstk.Label('In5', (9.625,2.61), layer=133, texttype=0))
sky130_hilas_fourtgatedo.add(gdstk.Label('Out2', (0.11,4.345), layer=133, texttype=0))
sky130_hilas_fourtgatedo.add(gdstk.Label('Vinj', (6.945,6.415), layer=132, texttype=0))
sky130_hilas_fourtgatedo.add(gdstk.Label('Gnd', (7.68,6.395), layer=132, texttype=0))
sky130_hilas_fourtgatedo.add(gdstk.Label('Run2', (9.325,6.42), layer=132, texttype=0))
sky130_hilas_fourtgatedo.add(gdstk.Label('Prog', (4.32,6.435), layer=132, texttype=0))
sky130_hilas_fourtgatedo.add(gdstk.Label('Run1', (0.31,6.415), layer=132, texttype=0))

tsmc65_stdcell_wtaandswi = lib.new_cell('tsmc65_stdcell_WTAandSwitches')
R(tsmc65_stdcell_wtaandswi, L26_0, [(14.255,0,16.485,0.21), (18.975,0,20.92,0.145)])
R(tsmc65_stdcell_wtaandswi, L31_0, [(7.06,6.12,10.775,6.29)])
R(tsmc65_stdcell_wtaandswi, L32_0, [(2.55,0,2.85,0.06), (7.55,0,7.85,0.06), (22.27,0.035,22.5,0.67), (23.44,0.04,23.82,0.53), (9.885,1.92,10.065,3.22), (9.645,4.9,9.825,6.38), (22.27,5.97,22.5,6.5), (23.44,5.97,23.82,6.5)])
R(tsmc65_stdcell_wtaandswi, L33_0, [(9.7,0.16,21.01,0.26), (21.01,0.16,21.26,0.32), (20.8,0.255,21.01,0.32), (21.09,0.32,21.26,0.715), (9.575,0.57,10.165,0.75), (23.99,1.205,24.395,1.365), (20.685,1.21,20.92,1.355), (20.685,1.355,21.36,1.655), (23.99,1.365,24.17,1.41), (21.36,1.41,21.415,1.57), (23.92,1.41,24.17,1.57), (9.68,1.92,10.065,2.08), (24.17,2.14,24.395,2.3), (20.92,2.19,21.66,2.39), (24.17,2.3,24.275,2.34), (23.92,2.34,24.17,2.5), (24.17,2.34,24.275,2.5), (9.515,2.58,10.165,2.76), (9.885,3.15,21.09,3.25), (21.09,3.2,21.5,3.25), (9.49,3.35,9.7,3.44), (9.49,3.44,21.09,3.54), (9.5,3.73,10.165,3.91), (24.04,3.98,24.395,4.14), (23.92,4.14,24.17,4.3), (20.92,4.3,21.66,4.5), (24.3,4.905,24.395,5.07), (20.67,4.985,21.36,5.285), (21.36,5.07,21.415,5.23), (23.92,5.07,24.3,5.25), (24.3,5.07,24.395,5.11), (24.3,5.11,24.395,5.25), (20.67,5.285,20.92,5.47), (9.475,5.75,10.165,5.93), (21.09,5.93,21.225,6.43)])
R(tsmc65_stdcell_wtaandswi, L132_0, [(22.365,5.925,22.42,5.95), (15.605,6.205,15.66,6.225), (7.655,6.24,7.71,6.265), (0.28,6.285,0.34,6.295), (9.29,6.295,9.345,6.32), (4.305,6.305,4.355,6.325), (6.89,6.31,6.945,6.335), (20,6.36,20.04,6.38), (11.385,6.37,11.405,6.385), (11.015,6.39,11.06,6.41)])
R(tsmc65_stdcell_wtaandswi, L133_0, [(0.04,1.375,0.085,1.395), (23.84,1.445,23.87,1.465), (23.845,2.385,23.875,2.41), (23.855,2.39,23.875,2.415), (0.07,2.86,0.125,2.915), (23.855,4.19,23.875,4.215), (0.07,4.405,0.12,4.425), (23.85,5.115,23.87,5.14), (0.04,5.875,0.075,5.91)])
tsmc65_stdcell_wtaandswi.add(gdstk.FlexPath([(13.395,1.665),(7.65,1.665)], 0.1, ends="flush", simple_path=True, layer=33, datatype=0))  # L33_0
tsmc65_stdcell_wtaandswi.add(gdstk.FlexPath([(23.82,1.845),(17.475,1.845)], 0.1, ends="flush", simple_path=True, layer=33, datatype=0))  # L33_0
tsmc65_stdcell_wtaandswi.add(gdstk.FlexPath([(9.825,6.41),(21.225,6.41)], 0.1, ends="flush", simple_path=True, layer=33, datatype=0))  # L33_0
tsmc65_stdcell_wtaandswi.add(gdstk.Reference(sky130_hilas_wta4stage01, (21.09,0.53)))
tsmc65_stdcell_wtaandswi.add(gdstk.Reference(sky130_hilas_swc4x1biasc, (20.92,0), rotation=pi, x_reflection=True))
r = gdstk.Reference(sky130_hilas_fourtgatedo, (0,0)); r.repetition = gdstk.Repetition(1, 1, v1=(9.878,0), v2=(0,6.5)); tsmc65_stdcell_wtaandswi.add(r)
tsmc65_stdcell_wtaandswi.add(gdstk.Reference(m3_m2_cdns_693601845460, (7.72,1.705)))
tsmc65_stdcell_wtaandswi.add(gdstk.Reference(m3_m2_cdns_693601845460, (9.735,6.37)))
tsmc65_stdcell_wtaandswi.add(gdstk.Reference(m3_m2_cdns_693601845460, (9.735,4.99)))
tsmc65_stdcell_wtaandswi.add(gdstk.Reference(m3_m2_cdns_693601845460, (9.975,2.01)))
tsmc65_stdcell_wtaandswi.add(gdstk.Reference(m3_m2_cdns_693601845460, (9.975,3.13)))
tsmc65_stdcell_wtaandswi.add(gdstk.Reference(m3_m2_cdns_693601845461, (23.63,1.885)))
tsmc65_stdcell_wtaandswi.add(gdstk.Reference(m2_m1_cdns_693601845462, (23.63,1.885)))
tsmc65_stdcell_wtaandswi.add(gdstk.Label('WTAMiddle', (22.395,5.94), layer=132, texttype=0))
tsmc65_stdcell_wtaandswi.add(gdstk.Label('Vtun', (20.02,6.375), layer=132, texttype=0))
tsmc65_stdcell_wtaandswi.add(gdstk.Label('Gateline', (15.635,6.27), layer=132, texttype=0))
tsmc65_stdcell_wtaandswi.add(gdstk.Label('run_source', (11.395,6.375), layer=132, texttype=0))
tsmc65_stdcell_wtaandswi.add(gdstk.Label('Colsel', (11.035,6.395), layer=132, texttype=0))
tsmc65_stdcell_wtaandswi.add(gdstk.Label('Run2', (9.315,6.305), layer=132, texttype=0))
tsmc65_stdcell_wtaandswi.add(gdstk.Label('GND', (7.68,6.255), layer=132, texttype=0))
tsmc65_stdcell_wtaandswi.add(gdstk.Label('Vinj', (6.915,6.325), layer=132, texttype=0))
tsmc65_stdcell_wtaandswi.add(gdstk.Label('Prog', (4.335,6.32), layer=132, texttype=0))
tsmc65_stdcell_wtaandswi.add(gdstk.Label('Run1', (0.31,6.29), layer=132, texttype=0))
tsmc65_stdcell_wtaandswi.add(gdstk.Label('Out_3', (23.855,1.455), layer=133, texttype=0))
tsmc65_stdcell_wtaandswi.add(gdstk.Label('Out_2', (23.86,2.4), layer=133, texttype=0))
tsmc65_stdcell_wtaandswi.add(gdstk.Label('Out_1', (23.87,4.205), layer=133, texttype=0))
tsmc65_stdcell_wtaandswi.add(gdstk.Label('Out_0', (23.86,5.125), layer=133, texttype=0))
tsmc65_stdcell_wtaandswi.add(gdstk.Label('drain_3', (0.065,1.385), layer=133, texttype=0))
tsmc65_stdcell_wtaandswi.add(gdstk.Label('drain_2', (0.085,2.89), layer=133, texttype=0))
tsmc65_stdcell_wtaandswi.add(gdstk.Label('drain_1', (0.085,4.42), layer=133, texttype=0))
tsmc65_stdcell_wtaandswi.add(gdstk.Label('drain_0', (0.06,5.89), layer=133, texttype=0))

lib.write_gds('tsmc65_stdcell_WTAandSwitches.gds')
